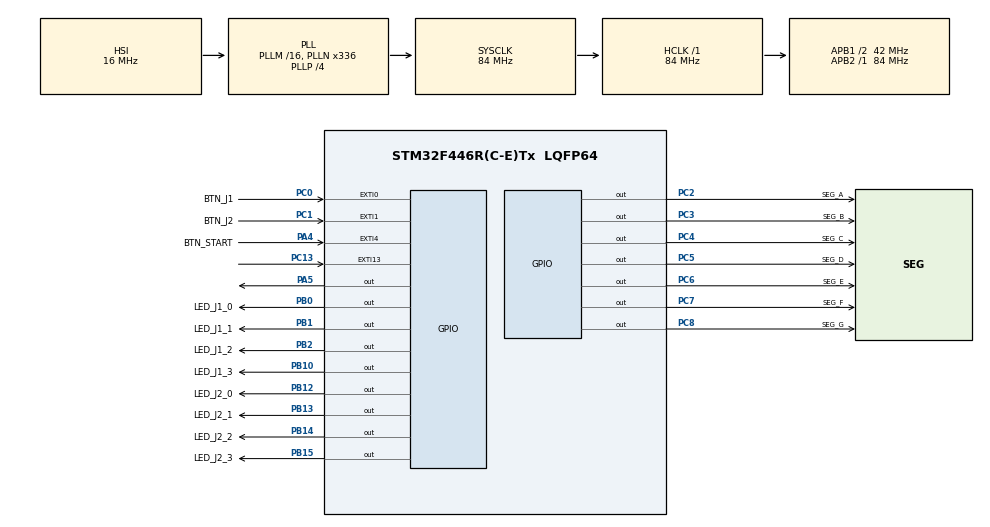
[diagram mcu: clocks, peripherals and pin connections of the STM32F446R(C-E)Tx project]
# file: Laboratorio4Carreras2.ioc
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Mcu.Family=STM32F4
Mcu.Name=STM32F446R(C-E)Tx
Mcu.Package=LQFP64
NUCLEO-F446RE.BUTTON=1
NUCLEO-F446RE.LD1=true
NVIC.EXTI0_IRQn=true\:0\:0\:false\:false\:true\:true\:true\:true
NVIC.EXTI15_10_IRQn=true\:0\:0\:false\:false\:true\:false\:true\:true
NVIC.EXTI1_IRQn=true\:0\:0\:false\:false\:true\:true\:true\:true
NVIC.EXTI4_IRQn=true\:0\:0\:false\:false\:true\:true\:true\:true
NVIC.PriorityGroup=NVIC_PRIORITYGROUP_0
PA13.GPIO_Label=TMS
PA13.Signal=SYS_JTMS-SWDIO
PA14.GPIO_Label=TCK
PA14.Signal=SYS_JTCK-SWCLK
PA2.GPIO_Label=USART_TX
PA2.Signal=USART2_TX
PA3.GPIO_Label=USART_RX
PA3.Signal=USART2_RX
PA4.GPIO_Label=BTN_START
PA4.GPIO_ModeDefaultEXTI=GPIO_MODE_IT_FALLING
PA4.GPIO_PuPd=GPIO_PULLUP
PA4.Signal=GPXTI4
PA5.Signal=GPIO_Output
PB0.GPIO_Label=LED_J1_0
PB0.Signal=GPIO_Output
PB1.GPIO_Label=LED_J1_1
PB1.Signal=GPIO_Output
PB10.GPIO_Label=LED_J1_3
PB10.Signal=GPIO_Output
PB12.GPIO_Label=LED_J2_0
PB12.Signal=GPIO_Output
PB13.GPIO_Label=LED_J2_1
PB13.Signal=GPIO_Output
PB14.GPIO_Label=LED_J2_2
PB14.Signal=GPIO_Output
PB15.GPIO_Label=LED_J2_3
PB15.Signal=GPIO_Output
PB2.GPIO_Label=LED_J1_2
PB2.Signal=GPIO_Output
PB3.GPIO_Label=SWO
PB3.Signal=SYS_JTDO-SWO
PC0.GPIO_Label=BTN_J1
PC0.GPIO_ModeDefaultEXTI=GPIO_MODE_IT_FALLING
PC0.GPIO_PuPd=GPIO_PULLUP
PC0.Signal=GPXTI0
PC1.GPIO_Label=BTN_J2
PC1.GPIO_ModeDefaultEXTI=GPIO_MODE_IT_FALLING
PC1.GPIO_PuPd=GPIO_PULLUP
PC1.Signal=GPXTI1
PC13.Signal=GPXTI13
PC14-OSC32_IN.Signal=RCC_OSC32_IN
PC15-OSC32_OUT.Signal=RCC_OSC32_OUT
PC2.GPIO_Label=SEG_A
PC2.Signal=GPIO_Output
PC3.GPIO_Label=SEG_B
PC3.Signal=GPIO_Output
PC4.GPIO_Label=SEG_C
PC4.Signal=GPIO_Output
PC5.GPIO_Label=SEG_D
PC5.Signal=GPIO_Output
PC6.GPIO_Label=SEG_E
PC6.Signal=GPIO_Output
PC7.GPIO_Label=SEG_F
PC7.Signal=GPIO_Output
PC8.GPIO_Label=SEG_G
PC8.Signal=GPIO_Output
PH0-OSC_IN.Signal=RCC_OSC_IN
PH1-OSC_OUT.Signal=RCC_OSC_OUT
ProjectManager.HeapSize=0x200
ProjectManager.StackSize=0x400
ProjectManager.TargetToolchain=STM32CubeIDE
RCC.AHBFreq_Value=84000000
RCC.APB1CLKDivider=RCC_HCLK_DIV2
RCC.APB1Freq_Value=42000000
RCC.APB1TimFreq_Value=84000000
RCC.APB2Freq_Value=84000000
RCC.APB2TimFreq_Value=84000000
RCC.CortexFreq_Value=84000000
RCC.FLatency-AdvancedSettings=FLASH_LATENCY_2
RCC.HCLKFreq_Value=84000000
RCC.HSE_VALUE=8000000
RCC.HSI_VALUE=16000000
RCC.LSE_VALUE=32768
RCC.PLLN=336
RCC.PLLP=RCC_PLLP_DIV4
RCC.SYSCLKFreq_VALUE=84000000
RCC.SYSCLKSource=RCC_SYSCLKSOURCE_PLLCLK
RCC.USBFreq_Value=168000000
RCC.VCOOutputFreq_Value=336000000
VP_NUCLEO-F446RE_VS_BSP_COMMON.Mode=COMMON
board=NUCLEO-F446RE

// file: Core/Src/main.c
/* USER CODE BEGIN Header */
/**
  ******************************************************************************
  * @file           : main.c
  * @brief          : Main program body
  ******************************************************************************
  * @attention
  *
  * Copyright (c) 2026 STMicroelectronics.
  * All rights reserved.
  *
  * This software is licensed under terms that can be found in the LICENSE file
  * in the root directory of this software component.
  * If no LICENSE file comes with this software, it is provided AS-IS.
  *
  ******************************************************************************
  */
/* USER CODE END Header */
#include "main.h"

/* USER CODE BEGIN Includes */
#include "stdint.h"
/* USER CODE END Includes */

/* USER CODE BEGIN PTD */
typedef enum
{
    ESTADO_IDLE = 0,
    ESTADO_CUENTA_REGRESIVA,
    ESTADO_CARRERA
} estado_juego_t;
/* USER CODE END PTD */

/* USER CODE BEGIN PD */
#define META               4
#define CUENTA_INICIAL     5
#define DEBOUNCE_MS        200U
#define COUNTDOWN_STEP_MS  1000U
/* USER CODE END PD */

/* USER CODE BEGIN PV */
volatile uint8_t  contador_j1       = 0;
volatile uint8_t  contador_j2       = 0;
volatile uint32_t ultimo_tick_j1    = 0;
volatile uint32_t ultimo_tick_j2    = 0;
volatile uint32_t ultimo_tick_start = 0;

volatile uint8_t  carrera_activa = 0;
volatile uint8_t  ganador        = 0;

volatile estado_juego_t game_state    = ESTADO_IDLE;
volatile uint8_t  countdown_value     = CUENTA_INICIAL;
volatile uint32_t countdown_last_tick = 0;
volatile uint8_t  inicio_solicitado   = 0;
/* USER CODE END PV */

void SystemClock_Config(void);
static void MX_GPIO_Init(void);
static void LED_Update_J1(uint8_t valor);
static void LED_Update_J2(uint8_t valor);
static void Display_Digit(uint8_t digito);
static void Display_Apagar(void);
static void Reset_Game(void);
static void Check_Winner(void);
static void Countdown_Task(void);
/* USER CODE BEGIN 0 */
static void LED_Update_J1(uint8_t valor)
{
    /* "Termómetro": se prenden los primeros N LEDs, sin apagar los anteriores */
    uint8_t mascara = (valor >= 4) ? 0x0F : (uint8_t)((1u << valor) - 1u);
    HAL_GPIO_WritePin(GPIOB, LED_J1_0_Pin, (mascara & 0x01) ? GPIO_PIN_SET : GPIO_PIN_RESET);
    HAL_GPIO_WritePin(GPIOB, LED_J1_1_Pin, (mascara & 0x02) ? GPIO_PIN_SET : GPIO_PIN_RESET);
    HAL_GPIO_WritePin(GPIOB, LED_J1_2_Pin, (mascara & 0x04) ? GPIO_PIN_SET : GPIO_PIN_RESET);
    HAL_GPIO_WritePin(GPIOB, LED_J1_3_Pin, (mascara & 0x08) ? GPIO_PIN_SET : GPIO_PIN_RESET);
}

static void LED_Update_J2(uint8_t valor)
{
    uint8_t mascara = (valor >= 4) ? 0x0F : (uint8_t)((1u << valor) - 1u);
    HAL_GPIO_WritePin(GPIOB, LED_J2_0_Pin, (mascara & 0x01) ? GPIO_PIN_SET : GPIO_PIN_RESET);
    HAL_GPIO_WritePin(GPIOB, LED_J2_1_Pin, (mascara & 0x02) ? GPIO_PIN_SET : GPIO_PIN_RESET);
    HAL_GPIO_WritePin(GPIOB, LED_J2_2_Pin, (mascara & 0x04) ? GPIO_PIN_SET : GPIO_PIN_RESET);
    HAL_GPIO_WritePin(GPIOB, LED_J2_3_Pin, (mascara & 0x08) ? GPIO_PIN_SET : GPIO_PIN_RESET);
}

static void Display_Digit(uint8_t digito)
{
    static const uint8_t patrones[10][7] = {
        {1,1,1,1,1,1,0}, /* 0 */
        {0,1,1,0,0,0,0}, /* 1 */
        {1,1,0,1,1,0,1}, /* 2 */
        {1,1,1,1,0,0,1}, /* 3 */
        {0,1,1,0,0,1,1}, /* 4 */
        {1,0,1,1,0,1,1}, /* 5 */
        {1,0,1,1,1,1,1}, /* 6 */
        {1,1,1,0,0,0,0}, /* 7 */
        {1,1,1,1,1,1,1}, /* 8 */
        {1,1,1,1,0,1,1}, /* 9 */
    };
    if (digito > 9) return;
    const uint8_t *p = patrones[digito];
    HAL_GPIO_WritePin(GPIOC, SEG_A_Pin, p[0] ? GPIO_PIN_SET : GPIO_PIN_RESET);
    HAL_GPIO_WritePin(GPIOC, SEG_B_Pin, p[1] ? GPIO_PIN_SET : GPIO_PIN_RESET);
    HAL_GPIO_WritePin(GPIOC, SEG_C_Pin, p[2] ? GPIO_PIN_SET : GPIO_PIN_RESET);
    HAL_GPIO_WritePin(GPIOC, SEG_D_Pin, p[3] ? GPIO_PIN_SET : GPIO_PIN_RESET);
    HAL_GPIO_WritePin(GPIOC, SEG_E_Pin, p[4] ? GPIO_PIN_SET : GPIO_PIN_RESET);
    HAL_GPIO_WritePin(GPIOC, SEG_F_Pin, p[5] ? GPIO_PIN_SET : GPIO_PIN_RESET);
    HAL_GPIO_WritePin(GPIOC, SEG_G_Pin, p[6] ? GPIO_PIN_SET : GPIO_PIN_RESET);
}

static void Display_Apagar(void)
{
    HAL_GPIO_WritePin(GPIOC, SEG_A_Pin|SEG_B_Pin|SEG_C_Pin|SEG_D_Pin
                            |SEG_E_Pin|SEG_F_Pin|SEG_G_Pin, GPIO_PIN_RESET);
}

static void Reset_Game(void)
{
    contador_j1    = 0;
    contador_j2    = 0;
    ganador        = 0;
    carrera_activa = 0;
    LED_Update_J1(0);
    LED_Update_J2(0);
    Display_Apagar();
}

static void Check_Winner(void)
{
    if (game_state != ESTADO_CARRERA) return;

    if (contador_j1 >= META)
    {
        ganador = 1;
        carrera_activa = 0;
        LED_Update_J1(0x0F);
        LED_Update_J2(0x00);
        Display_Digit(1);
        game_state = ESTADO_IDLE;
    }
    else if (contador_j2 >= META)
    {
        ganador = 2;
        carrera_activa = 0;
        LED_Update_J2(0x0F);
        LED_Update_J1(0x00);
        Display_Digit(2);
        game_state = ESTADO_IDLE;
    }
}

static void Countdown_Task(void)
{
    if (game_state != ESTADO_CUENTA_REGRESIVA) return;

    uint32_t ahora = HAL_GetTick();
    if ((ahora - countdown_last_tick) < COUNTDOWN_STEP_MS) return;
    countdown_last_tick = ahora;

    if (countdown_value > 0)
    {
        countdown_value--;
        Display_Digit(countdown_value);
    }
    else
    {
        Display_Apagar();
        carrera_activa = 1;
        game_state = ESTADO_CARRERA;
    }
}

void HAL_GPIO_EXTI_Callback(uint16_t GPIO_Pin)
{
    uint32_t ahora = HAL_GetTick();

    if (GPIO_Pin == BTN_START_Pin)
    {
        if ((ahora - ultimo_tick_start) > DEBOUNCE_MS)
        {
            ultimo_tick_start = ahora;
            inicio_solicitado = 1;
        }
        return;
    }

    if (!carrera_activa) return;

    if (GPIO_Pin == BTN_J1_Pin)
    {
        if ((ahora - ultimo_tick_j1) > DEBOUNCE_MS)
        {
            ultimo_tick_j1 = ahora;
            if (contador_j1 < META)
            {
                contador_j1++;
                LED_Update_J1(contador_j1);
            }
        }
    }
    else if (GPIO_Pin == BTN_J2_Pin)
    {
        if ((ahora - ultimo_tick_j2) > DEBOUNCE_MS)
        {
            ultimo_tick_j2 = ahora;
            if (contador_j2 < META)
            {
                contador_j2++;
                LED_Update_J2(contador_j2);
            }
        }
    }
}
/* USER CODE END 0 */

int main(void)
{

  /* MCU Configuration--------------------------------------------------------*/

  /* Reset of all peripherals, Initializes the Flash interface and the Systick. */
  HAL_Init();

  /* Configure the system clock */
  SystemClock_Config();

  /* Initialize all configured peripherals */
  MX_GPIO_Init();
  /* USER CODE BEGIN 2 */
  Reset_Game();
  /* USER CODE END 2 */

  /* Initialize leds */

  /* Initialize USER push-button, will be used to trigger an interrupt each time it's pressed.*/

  /* Infinite loop */
  while (1)
  {

    /* USER CODE BEGIN 3 */
	  if (inicio_solicitado)
	  {
	      inicio_solicitado = 0;
	      if (game_state == ESTADO_IDLE)
	      {
	          Reset_Game();
	          game_state          = ESTADO_CUENTA_REGRESIVA;
	          countdown_value     = CUENTA_INICIAL;
	          countdown_last_tick = HAL_GetTick();
	          Display_Digit(countdown_value);
	      }
	  }

	  Countdown_Task();
	  Check_Winner();
  }
  /* USER CODE END 3 */
}

void SystemClock_Config(void)
{
  RCC_OscInitTypeDef RCC_OscInitStruct = {0};
  RCC_ClkInitTypeDef RCC_ClkInitStruct = {0};

  /** Configure the main internal regulator output voltage
  */
  __HAL_RCC_PWR_CLK_ENABLE();
  __HAL_PWR_VOLTAGESCALING_CONFIG(PWR_REGULATOR_VOLTAGE_SCALE3);

  /** Initializes the RCC Oscillators according to the specified parameters
  * in the RCC_OscInitTypeDef structure.
  */
  RCC_OscInitStruct.OscillatorType = RCC_OSCILLATORTYPE_HSI;
  RCC_OscInitStruct.HSIState = RCC_HSI_ON;
  RCC_OscInitStruct.HSICalibrationValue = RCC_HSICALIBRATION_DEFAULT;
  RCC_OscInitStruct.PLL.PLLState = RCC_PLL_ON;
  RCC_OscInitStruct.PLL.PLLSource = RCC_PLLSOURCE_HSI;
  RCC_OscInitStruct.PLL.PLLM = 16;
  RCC_OscInitStruct.PLL.PLLN = 336;
  RCC_OscInitStruct.PLL.PLLP = RCC_PLLP_DIV4;
  RCC_OscInitStruct.PLL.PLLQ = 2;
  RCC_OscInitStruct.PLL.PLLR = 2;
  if (HAL_RCC_OscConfig(&RCC_OscInitStruct) != HAL_OK)
  {
    Error_Handler();
  }

  /** Initializes the CPU, AHB and APB buses clocks
  */
  RCC_ClkInitStruct.ClockType = RCC_CLOCKTYPE_HCLK|RCC_CLOCKTYPE_SYSCLK
                              |RCC_CLOCKTYPE_PCLK1|RCC_CLOCKTYPE_PCLK2;
  RCC_ClkInitStruct.SYSCLKSource = RCC_SYSCLKSOURCE_PLLCLK;
  RCC_ClkInitStruct.AHBCLKDivider = RCC_SYSCLK_DIV1;
  RCC_ClkInitStruct.APB1CLKDivider = RCC_HCLK_DIV2;
  RCC_ClkInitStruct.APB2CLKDivider = RCC_HCLK_DIV1;

  if (HAL_RCC_ClockConfig(&RCC_ClkInitStruct, FLASH_LATENCY_2) != HAL_OK)
  {
    Error_Handler();
  }
}

static void MX_GPIO_Init(void)
{
  GPIO_InitTypeDef GPIO_InitStruct = {0};

  /* GPIO Ports Clock Enable */
  __HAL_RCC_GPIOC_CLK_ENABLE();
  __HAL_RCC_GPIOH_CLK_ENABLE();
  __HAL_RCC_GPIOA_CLK_ENABLE();
  __HAL_RCC_GPIOB_CLK_ENABLE();

  /*Configure GPIO pin Output Level */
  HAL_GPIO_WritePin(GPIOC, SEG_A_Pin|SEG_B_Pin|SEG_C_Pin|SEG_D_Pin
                          |SEG_E_Pin|SEG_F_Pin|SEG_G_Pin, GPIO_PIN_RESET);

  /*Configure GPIO pin Output Level */
  HAL_GPIO_WritePin(GPIOB, LED_J1_0_Pin|LED_J1_1_Pin|LED_J1_2_Pin|LED_J1_3_Pin
                          |LED_J2_0_Pin|LED_J2_1_Pin|LED_J2_2_Pin|LED_J2_3_Pin, GPIO_PIN_RESET);

  /*Configure GPIO pins : BTN_J1_Pin BTN_J2_Pin */
  GPIO_InitStruct.Pin = BTN_J1_Pin|BTN_J2_Pin;
  GPIO_InitStruct.Mode = GPIO_MODE_IT_FALLING;
  GPIO_InitStruct.Pull = GPIO_PULLUP;
  HAL_GPIO_Init(GPIOC, &GPIO_InitStruct);

  /*Configure GPIO pins : SEG_A_Pin SEG_B_Pin SEG_C_Pin SEG_D_Pin
                           SEG_E_Pin SEG_F_Pin SEG_G_Pin */
  GPIO_InitStruct.Pin = SEG_A_Pin|SEG_B_Pin|SEG_C_Pin|SEG_D_Pin
                          |SEG_E_Pin|SEG_F_Pin|SEG_G_Pin;
  GPIO_InitStruct.Mode = GPIO_MODE_OUTPUT_PP;
  GPIO_InitStruct.Pull = GPIO_NOPULL;
  GPIO_InitStruct.Speed = GPIO_SPEED_FREQ_LOW;
  HAL_GPIO_Init(GPIOC, &GPIO_InitStruct);

  /*Configure GPIO pins : USART_TX_Pin USART_RX_Pin */
  GPIO_InitStruct.Pin = USART_TX_Pin|USART_RX_Pin;
  GPIO_InitStruct.Mode = GPIO_MODE_AF_PP;
  GPIO_InitStruct.Pull = GPIO_NOPULL;
  GPIO_InitStruct.Speed = GPIO_SPEED_FREQ_VERY_HIGH;
  GPIO_InitStruct.Alternate = GPIO_AF7_USART2;
  HAL_GPIO_Init(GPIOA, &GPIO_InitStruct);

  /*Configure GPIO pin : BTN_START_Pin */
  GPIO_InitStruct.Pin = BTN_START_Pin;
  GPIO_InitStruct.Mode = GPIO_MODE_IT_FALLING;
  GPIO_InitStruct.Pull = GPIO_PULLUP;
  HAL_GPIO_Init(BTN_START_GPIO_Port, &GPIO_InitStruct);

  /*Configure GPIO pins : LED_J1_0_Pin LED_J1_1_Pin LED_J1_2_Pin LED_J1_3_Pin
                           LED_J2_0_Pin LED_J2_1_Pin LED_J2_2_Pin LED_J2_3_Pin */
  GPIO_InitStruct.Pin = LED_J1_0_Pin|LED_J1_1_Pin|LED_J1_2_Pin|LED_J1_3_Pin
                          |LED_J2_0_Pin|LED_J2_1_Pin|LED_J2_2_Pin|LED_J2_3_Pin;
  GPIO_InitStruct.Mode = GPIO_MODE_OUTPUT_PP;
  GPIO_InitStruct.Pull = GPIO_NOPULL;
  GPIO_InitStruct.Speed = GPIO_SPEED_FREQ_LOW;
  HAL_GPIO_Init(GPIOB, &GPIO_InitStruct);

  /* EXTI interrupt init*/
  HAL_NVIC_SetPriority(EXTI0_IRQn, 0, 0);
  HAL_NVIC_EnableIRQ(EXTI0_IRQn);

  HAL_NVIC_SetPriority(EXTI1_IRQn, 0, 0);
  HAL_NVIC_EnableIRQ(EXTI1_IRQn);

  HAL_NVIC_SetPriority(EXTI4_IRQn, 0, 0);
  HAL_NVIC_EnableIRQ(EXTI4_IRQn);

}

void Error_Handler(void)
{
  __disable_irq();
  while (1)
  {
  }
}
